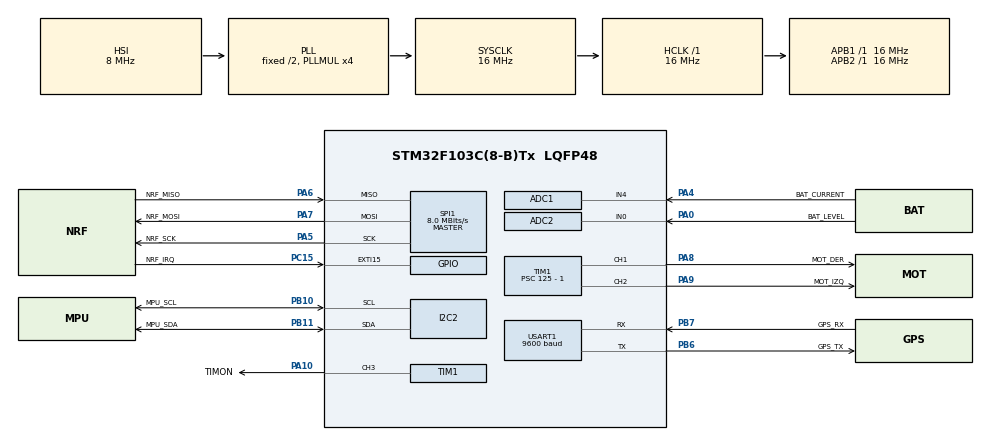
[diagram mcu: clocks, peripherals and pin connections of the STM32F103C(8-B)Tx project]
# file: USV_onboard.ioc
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ADC1.Channel-0\#ChannelRegularConversion=ADC_CHANNEL_4
ADC1.ContinuousConvMode=ENABLE
ADC1.NbrOfConversionFlag=1
ADC1.Rank-0\#ChannelRegularConversion=1
ADC1.SamplingTime-0\#ChannelRegularConversion=ADC_SAMPLETIME_1CYCLE_5
ADC1.master=1
ADC2.Channel-0\#ChannelRegularConversion=ADC_CHANNEL_0
ADC2.ContinuousConvMode=ENABLE
ADC2.NbrOfConversionFlag=1
ADC2.Rank-0\#ChannelRegularConversion=1
ADC2.SamplingTime-0\#ChannelRegularConversion=ADC_SAMPLETIME_1CYCLE_5
Dma.Request0=USART1_RX
Dma.USART1_RX.0.Direction=DMA_PERIPH_TO_MEMORY
Dma.USART1_RX.0.Instance=DMA1_Channel5
Dma.USART1_RX.0.MemDataAlignment=DMA_MDATAALIGN_BYTE
Dma.USART1_RX.0.MemInc=DMA_MINC_ENABLE
Dma.USART1_RX.0.Mode=DMA_NORMAL
Dma.USART1_RX.0.PeriphDataAlignment=DMA_PDATAALIGN_BYTE
Dma.USART1_RX.0.PeriphInc=DMA_PINC_DISABLE
Dma.USART1_RX.0.Priority=DMA_PRIORITY_LOW
FREERTOS.INCLUDE_pcTaskGetTaskName=1
FREERTOS.INCLUDE_xTaskGetCurrentTaskHandle=1
FREERTOS.Tasks01=ACQ_GPS,24,512,StartACQGPS,Default,NULL,Dynamic,NULL,NULL;ACQ_MPU,24,512,StartACQMPU,Default,NULL,Dynamic,NULL,NULL;Proc_datos,40,256,StartProcDatos,Default,NULL,Dynamic,NULL,NULL
FREERTOS.configCHECK_FOR_STACK_OVERFLOW=2
FREERTOS.configTOTAL_HEAP_SIZE=6000
FREERTOS.configUSE_APPLICATION_TASK_TAG=1
FREERTOS.configUSE_NEWLIB_REENTRANT=1
Mcu.Family=STM32F1
Mcu.Name=STM32F103C(8-B)Tx
Mcu.Package=LQFP48
NVIC.ADC1_2_IRQn=true\:5\:0\:false\:false\:true\:true\:true\:true\:true
NVIC.DMA1_Channel5_IRQn=true\:5\:0\:false\:false\:true\:true\:false\:true\:true
NVIC.EXTI15_10_IRQn=true\:5\:0\:false\:false\:true\:true\:true\:true\:true
NVIC.PriorityGroup=NVIC_PRIORITYGROUP_4
NVIC.SPI1_IRQn=true\:5\:0\:false\:false\:true\:true\:true\:true\:true
NVIC.TIM2_IRQn=true\:5\:0\:false\:false\:true\:true\:true\:true\:true
NVIC.TIM4_IRQn=true\:15\:0\:false\:false\:true\:false\:false\:true\:true
NVIC.TimeBase=TIM4_IRQn
NVIC.TimeBaseIP=TIM4
NVIC.USART1_IRQn=true\:5\:0\:false\:false\:true\:true\:true\:true\:true
PA0-WKUP.GPIO_Label=BAT_LEVEL
PA0-WKUP.Signal=ADCx_IN0
PA10.GPIO_Label=TIMON
PA10.Signal=S_TIM1_CH3
PA13.Mode=Serial_Wire
PA13.Signal=SYS_JTMS-SWDIO
PA14.Mode=Serial_Wire
PA14.Signal=SYS_JTCK-SWCLK
PA4.GPIO_Label=BAT_CURRENT
PA4.Signal=ADCx_IN4
PA5.GPIO_Label=NRF_SCK
PA5.Mode=Full_Duplex_Master
PA5.Signal=SPI1_SCK
PA6.GPIO_Label=NRF_MISO
PA6.Mode=Full_Duplex_Master
PA6.Signal=SPI1_MISO
PA7.GPIO_Label=NRF_MOSI
PA7.Mode=Full_Duplex_Master
PA7.Signal=SPI1_MOSI
PA8.GPIO_Label=MOT_DER
PA8.Signal=S_TIM1_CH1
PA9.GPIO_Label=MOT_IZQ
PA9.Signal=S_TIM1_CH2
PB10.GPIO_Label=MPU_SCL
PB10.Mode=I2C
PB10.Signal=I2C2_SCL
PB11.GPIO_Label=MPU_SDA
PB11.Mode=I2C
PB11.Signal=I2C2_SDA
PB6.GPIO_Label=GPS_TX
PB6.Mode=Asynchronous
PB6.Signal=USART1_TX
PB7.GPIO_Label=GPS_RX
PB7.Mode=Asynchronous
PB7.Signal=USART1_RX
PC15-OSC32_OUT.GPIO_Label=NRF_IRQ
PC15-OSC32_OUT.GPIO_ModeDefaultEXTI=GPIO_MODE_IT_FALLING
PC15-OSC32_OUT.GPIO_PuPd=GPIO_PULLUP
PC15-OSC32_OUT.Signal=GPXTI15
ProjectManager.HeapSize=0x200
ProjectManager.StackSize=0x400
ProjectManager.TargetToolchain=STM32CubeIDE
RCC.AHBFreq_Value=16000000
RCC.APB1Freq_Value=16000000
RCC.APB1TimFreq_Value=16000000
RCC.APB2Freq_Value=16000000
RCC.APB2TimFreq_Value=16000000
RCC.HCLKFreq_Value=16000000
RCC.PLLMUL=RCC_PLL_MUL4
RCC.SYSCLKFreq_VALUE=16000000
RCC.SYSCLKSource=RCC_SYSCLKSOURCE_PLLCLK
RCC.USBFreq_Value=16000000
SH.ADCx_IN0.0=ADC2_IN0,IN0
SH.ADCx_IN4.0=ADC1_IN4,IN4
SH.S_TIM1_CH1.0=TIM1_CH1,PWM Generation1 CH1
SH.S_TIM1_CH2.0=TIM1_CH2,PWM Generation2 CH2
SH.S_TIM1_CH3.0=TIM1_CH3,PWM Generation3 CH3
SPI1.CalculateBaudRate=8.0 MBits/s
SPI1.Direction=SPI_DIRECTION_2LINES
SPI1.Mode=SPI_MODE_MASTER
SPI1.VirtualType=VM_MASTER
TIM1.AutoReloadPreload=TIM_AUTORELOAD_PRELOAD_ENABLE
TIM1.Channel-PWM\ Generation1\ CH1=TIM_CHANNEL_1
TIM1.Channel-PWM\ Generation2\ CH2=TIM_CHANNEL_2
TIM1.Channel-PWM\ Generation3\ CH3=TIM_CHANNEL_3
TIM1.Period=2560 - 1
TIM1.Prescaler=125 - 1
TIM2.AutoReloadPreload=TIM_AUTORELOAD_PRELOAD_ENABLE
TIM2.Period=3125 - 1
TIM2.Prescaler=2560 - 1
USART1.BaudRate=9600
USART1.VirtualMode=VM_ASYNC
VP_FREERTOS_VS_CMSIS_V2.Mode=CMSIS_V2
VP_SYS_VS_tim4.Mode=TIM4
VP_TIM1_VS_ClockSourceINT.Mode=Internal
VP_TIM2_VS_ClockSourceINT.Mode=Internal
board=custom

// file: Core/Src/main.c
/* USER CODE BEGIN Header */
/**
  ******************************************************************************
  * @file           : main.c
  * @brief          : Main program body
  ******************************************************************************
  * @attention
  *
  * Copyright (c) 2025 STMicroelectronics.
  * All rights reserved.
  *
  * This software is licensed under terms that can be found in the LICENSE file
  * in the root directory of this software component.
  * If no LICENSE file comes with this software, it is provided AS-IS.
  *
  ******************************************************************************
  */
/* USER CODE END Header */
#include "main.h"
#include "cmsis_os.h"

/* USER CODE BEGIN Includes */
#include <stdint.h>
#include <stdio.h>
#include <string.h>
#include <stdbool.h>
#include <task.h>

#include "NRF24.h"
#include "NRF24_conf.h"
#include "NRF24_reg_addresses.h"
#include "gps.h"
#include "MPU9250-DMP.h"
#include "inv_mpu.h"
#include "lut_timon.h"
#include "lut_giro.h"

/* USER CODE END Includes */

/* USER CODE BEGIN PD */
#define _BV(x) (1 << (x))
#define GPS_RX_BUFFER_SIZE 128
#define getBatCurrent() (hadc1.Instance->DR >> 4)
#define getBatLevel() (hadc2.Instance->DR - 3583)/2

/* USER CODE END PD */

ADC_HandleTypeDef hadc1;
ADC_HandleTypeDef hadc2;

I2C_HandleTypeDef hi2c2;

SPI_HandleTypeDef hspi1;

TIM_HandleTypeDef htim1;
TIM_HandleTypeDef htim2;

UART_HandleTypeDef huart1;
DMA_HandleTypeDef hdma_usart1_rx;

/* Definitions for ACQ_GPS */
osThreadId_t ACQ_GPSHandle;
const osThreadAttr_t ACQ_GPS_attributes = {
  .name = "ACQ_GPS",
  .stack_size = 512 * 4,
  .priority = (osPriority_t) osPriorityNormal,
};
/* Definitions for ACQ_MPU */
osThreadId_t ACQ_MPUHandle;
const osThreadAttr_t ACQ_MPU_attributes = {
  .name = "ACQ_MPU",
  .stack_size = 512 * 4,
  .priority = (osPriority_t) osPriorityNormal,
};
/* Definitions for Proc_datos */
osThreadId_t Proc_datosHandle;
const osThreadAttr_t Proc_datos_attributes = {
  .name = "Proc_datos",
  .stack_size = 256 * 4,
  .priority = (osPriority_t) osPriorityHigh,
};
/* USER CODE BEGIN PV */
/*****	ERROR Managment	****/
typedef enum {
	NRF24_NOT_INIT,
	NRF24_TX_LOST,
	NRF24_EXTRA_NOT_CPY
}error_t;

error_t error;
/***** Variables NRF24	*****/
uint8_t NRF_addr[5] = {0xE1, 0xF0, 0xF0, 0xE8, 0xE8};	//Adress del módulo NRF24
typedef struct __attribute__((__packed__)){		// Estructura del mensaje a recibir
	uint8_t MODO;
	uint8_t POTENCIA;
	uint8_t DIRECCION;
	char EXTRA[29];
}msg_t;

msg_t mensaje = {
		.MODO = 0,
		.POTENCIA = 0,
		.DIRECCION = 0,
		.EXTRA = {0}
};

uint16_t PLD_SIZE = 32;

// Estructura del payload a enviar en el ACK
typedef struct __attribute__((__packed__)){	// el atributo colocado es para que no realice padding.
	float latitud;
	float longitud;	//Coordenadas GPS
	float velocidad;
	uint8_t ACK_estado;
	uint8_t bat_level;	//Nivel de batería
	uint8_t bat_current;	//Corriente medida
	uint8_t sat_used;
	uint16_t heading;
	char extra[14];
}ACKpld_t;
ACKpld_t ACKpld;
/***** Variables FSM onBoard	******/
typedef enum{
	IDLE = 0b00000000,
	MANUAL = 0b00000001,
	WAYPOINT = 0b00000010
}modo_t;

/***** Buffer de recepción NMEA *****/
uint8_t GPSrx_buffer1[128];
uint8_t GPSrx_buffer2[128];
uint8_t GPSrx_buffer3[128];
typedef enum {
	MSG_ON_BUF1,
	MSG_ON_BUF2,
	MSG_ON_BUF3,
	NONE_MSG
}notifyGPS_t;

uint8_t len;

/***** Variables WATCHDOG Timer *****/
bool TIMEOUT_WDOG_OCCUR = false;
/* USER CODE END PV */

void SystemClock_Config(void);
static void MX_GPIO_Init(void);
static void MX_DMA_Init(void);
static void MX_I2C2_Init(void);
static void MX_SPI1_Init(void);
static void MX_TIM1_Init(void);
static void MX_USART1_UART_Init(void);
static void MX_ADC1_Init(void);
static void MX_ADC2_Init(void);
static void MX_TIM2_Init(void);
void StartACQGPS(void *argument);
void StartACQMPU(void *argument);
void StartProcDatos(void *argument);

/* USER CODE BEGIN PFP */
void HAL_GPIO_EXTI_Callback(uint16_t GPIO_Pin)
{
	BaseType_t xHigherPriorityTaskWoken = pdFALSE;
    if (GPIO_Pin == GPIO_PIN_15)
    {
    	htim2.Instance->CNT = 0;	//Reinicio el WatchDog Timer

    	if (nrf24_data_available()) {
    		uint8_t rx_buffer[sizeof(msg_t)];

    		nrf24_receive(rx_buffer, sizeof(msg_t));

    		mensaje.MODO = rx_buffer[0];
    		mensaje.POTENCIA = rx_buffer[1];
    		mensaje.DIRECCION = rx_buffer[2];

    		char *ret = memcpy(mensaje.EXTRA, &rx_buffer[3], sizeof(mensaje.EXTRA));
    		if(ret != mensaje.EXTRA){
    			error = NRF24_EXTRA_NOT_CPY;
    		}
    		nrf24_flush_rx();
    	}

    	//Activada la IRQ de msj recibido, notifico a la task proc. datos
    	vTaskNotifyGiveFromISR(Proc_datosHandle, &xHigherPriorityTaskWoken); //Notificar a procesar datos que hay uno nuevo
    	portYIELD_FROM_ISR( xHigherPriorityTaskWoken );
    }
}
void USART1_IDLE_Interrupcion(void) {
	static uint8_t buffer_idx;
	uint8_t *buffers[] = { GPSrx_buffer1, GPSrx_buffer2, GPSrx_buffer3};
	notifyGPS_t NotifyGPS = NONE_MSG;

        // Desactivo DMA momentáneamente
        HAL_UART_DMAStop(&huart1);

        switch (buffer_idx) {
			case 0:
				NotifyGPS = MSG_ON_BUF1;
				break;
			case 1:
				NotifyGPS = MSG_ON_BUF2;
				break;
			case 2:
				NotifyGPS = MSG_ON_BUF3;
				break;
		}

        // Calculás cuántos bytes llegaron
        len = GPS_RX_BUFFER_SIZE - __HAL_DMA_GET_COUNTER(huart1.hdmarx);
        buffer_idx = (buffer_idx + 1) % 3;

        xTaskNotify(ACQ_GPSHandle, NotifyGPS, eSetValueWithOverwrite);  // nueva notificación

        // Reinicio DMA desde el buffer correspondiente
        HAL_UART_Receive_DMA(&huart1, buffers[buffer_idx], GPS_RX_BUFFER_SIZE);
}
bool NRF24_Init(void){
	ce_low();
	csn_high();

	HAL_Delay(5);

	// Velocidad inicial confiable (1 Mbps)
	nrf24_data_rate(_250kbps);

    // Habilitar ACK payload y payload dinámico
	nrf24_en_ack_pld(enable);
	nrf24_en_dyn_ack(enable);
	nrf24_dpl(enable);

    // Habilitar auto-ack en todos los pipes (puede ajustarse)
	nrf24_auto_ack_all(enable);

    // Habilitar solo pipes RX 0 y 1 por defecto
	nrf24_open_rx_pipe(0, NRF_addr);
	//nrf24_open_rx_pipe(1, NRF_addr);

    // Tamaño fijo de payload (por defecto 32 bytes)
	nrf24_pipe_pld_size(0, PLD_SIZE);
	//nrf24_pipe_pld_size(1, PLD_SIZE);

    // Ancho de dirección: 5 bytes (máximo permitido)
	nrf24_set_addr_width(5);

	// Canal por defecto (76 → dentro de ISM band y sin interferencia típica)
	nrf24_set_channel(76);

    // Limpiar flags de status
	nrf24_clear_max_rt();
	nrf24_clear_rx_dr();
	nrf24_clear_tx_ds();

    // Flush buffers
	nrf24_flush_rx();
	nrf24_flush_tx();

	//Retransmission setup
	//0110 (ARD) = 1.5ms, 0101 (ARC) = 5 retries.
	uint8_t setup = 0b01100101;
	uint8_t* p = &setup;
	nrf24_w_reg(SETUP_RETR, p, sizeof(setup));

//	uint8_t SETUP_reg = nrf24_r_reg(SETUP_RETR, 1);

	//Para debug
	volatile uint8_t CONFIG_reg = nrf24_r_reg(CONFIG, 1);

    // Configurar registro CONFIG:
    // - CRC de 2 bytes (CRCO)
    // - CRC habilitado (EN_CRC)
    // - Power Up (PWR_UP)
    // - Modo PTX (PRIM_RX = 0)
	nrf24_set_crc(en_crc, _2byte);
	nrf24_pwr_up();
	// Pongo en Modo PTX (PRIM_RX = 0)
	nrf24_set_bit(CONFIG, 0, 0);
	//Reflejo solo la IRQ RX_DR en el pin IRQ
	nrf24_set_bit(CONFIG, 6, 0);
	nrf24_set_bit(CONFIG, 5, 1);
	nrf24_set_bit(CONFIG, 4, 1);

	//Para debug
	CONFIG_reg = nrf24_r_reg(CONFIG, 1);

    // Delay de power-up a standby (~1.5ms recomendado)
    HAL_Delay(2);

    // Verificación de escritura de CONFIG
    return (nrf24_r_reg(CONFIG, 1) == (_BV(EN_CRC) | _BV(CRCO) | _BV(PWR_UP) | _BV(MASK_TX_DS) | _BV(MASK_MAX_RT))) ? true : false;
}
void Motor_Init(void){
	//Inicialización MOTORES
	  HAL_TIM_Base_Start(&htim1);
	  HAL_TIM_PWM_Start(&htim1, TIM_CHANNEL_1);
	  HAL_TIM_PWM_Start(&htim1, TIM_CHANNEL_2);

	  htim1.Instance->CCR1 = 256;
	  htim1.Instance->CCR2 = 256;

	  HAL_Delay(2000);

	  htim1.Instance->CCR1 = 128;
	  htim1.Instance->CCR2 = 128;

	  HAL_Delay(2000);

	  // Innicialización TIMóN
	  htim1.Instance->CCR3 = 128; //0 grados

	  HAL_Delay(500);

	  htim1.Instance->CCR3 = 256;	//180 grados (max)

	  HAL_Delay(500);

	  htim1.Instance->CCR3 = 192;	//90 grados (centrado)
}
uint8_t map_vel_to_pwm(uint8_t vel)
{
    return (uint16_t)vel * (255 - 127) / 255 + 127;
}
//uint8_t map_angle_to_pwm(uint8_t angulo) {
//    if (angulo < 0) angulo = 0;
//    if (angulo > 180) angulo = 180;
//    return 128 + (uint16_t)(angulo / 180) * 128;
//}
void callback_in(int){

}
void callback_out(int){

}
/* USER CODE END PFP */

int main(void)
{

  /* MCU Configuration--------------------------------------------------------*/

  /* Reset of all peripherals, Initializes the Flash interface and the Systick. */
  HAL_Init();

  /* Configure the system clock */
  SystemClock_Config();

  /* Initialize all configured peripherals */
  MX_GPIO_Init();
  MX_DMA_Init();
  MX_I2C2_Init();
  MX_SPI1_Init();
  MX_TIM1_Init();
  MX_USART1_UART_Init();
  MX_ADC1_Init();
  MX_ADC2_Init();
  MX_TIM2_Init();
  /* USER CODE BEGIN 2 */

  if (NRF24_Init() == 0) {
	  error = NRF24_NOT_INIT;
	  while(1);
  }

  /*** Inicializo los ADC de BatLevel y Current ***/
  HAL_ADC_Start(&hadc1);
  HAL_ADC_Start(&hadc2);

  Motor_Init();
  HAL_UART_Receive_DMA(&huart1, GPSrx_buffer1, GPS_RX_BUFFER_SIZE); //Inicia en el Buffer 1
  /*** INIT MPU ***/
  // Ya incluye correcta inicialización del magnetómetro, no lo deja en modo ByPass
  if(MPU9250_begin() == INV_SUCCESS) SET_BIT(ACKpld.ACK_estado, 5); // Bit 5 en alto (IMU OK)
  // Configurar giroscopio ±250°/s
  MPU9250_setGyroFSR(250);
  MPU9250_setSampleRate(50); //Sample Rate de acc y gyro en 50Hz
  MPU9250_setCompassSampleRate(100);
  MPU9250_dmpBegin(DMP_FEATURE_GYRO_CAL | DMP_FEATURE_SEND_CAL_GYRO, 50);

  nrf24_listen();

  HAL_TIM_Base_Start(&htim2);

  /* USER CODE END 2 */

  /* Init scheduler */
  osKernelInitialize();

  /* Create the thread(s) */
  /* creation of ACQ_GPS */
  ACQ_GPSHandle = osThreadNew(StartACQGPS, NULL, &ACQ_GPS_attributes);

  /* creation of ACQ_MPU */
  ACQ_MPUHandle = osThreadNew(StartACQMPU, NULL, &ACQ_MPU_attributes);

  /* creation of Proc_datos */
  Proc_datosHandle = osThreadNew(StartProcDatos, NULL, &Proc_datos_attributes);

  /* Start scheduler */
  osKernelStart();

  /* We should never get here as control is now taken by the scheduler */
  /* Infinite loop */
  while (1)
  {

  }
}

void SystemClock_Config(void)
{
  RCC_OscInitTypeDef RCC_OscInitStruct = {0};
  RCC_ClkInitTypeDef RCC_ClkInitStruct = {0};
  RCC_PeriphCLKInitTypeDef PeriphClkInit = {0};

  /** Initializes the RCC Oscillators according to the specified parameters
  * in the RCC_OscInitTypeDef structure.
  */
  RCC_OscInitStruct.OscillatorType = RCC_OSCILLATORTYPE_HSI;
  RCC_OscInitStruct.HSIState = RCC_HSI_ON;
  RCC_OscInitStruct.HSICalibrationValue = RCC_HSICALIBRATION_DEFAULT;
  RCC_OscInitStruct.PLL.PLLState = RCC_PLL_ON;
  RCC_OscInitStruct.PLL.PLLSource = RCC_PLLSOURCE_HSI_DIV2;
  RCC_OscInitStruct.PLL.PLLMUL = RCC_PLL_MUL4;
  if (HAL_RCC_OscConfig(&RCC_OscInitStruct) != HAL_OK)
  {
    Error_Handler();
  }

  /** Initializes the CPU, AHB and APB buses clocks
  */
  RCC_ClkInitStruct.ClockType = RCC_CLOCKTYPE_HCLK|RCC_CLOCKTYPE_SYSCLK
                              |RCC_CLOCKTYPE_PCLK1|RCC_CLOCKTYPE_PCLK2;
  RCC_ClkInitStruct.SYSCLKSource = RCC_SYSCLKSOURCE_PLLCLK;
  RCC_ClkInitStruct.AHBCLKDivider = RCC_SYSCLK_DIV1;
  RCC_ClkInitStruct.APB1CLKDivider = RCC_HCLK_DIV1;
  RCC_ClkInitStruct.APB2CLKDivider = RCC_HCLK_DIV1;

  if (HAL_RCC_ClockConfig(&RCC_ClkInitStruct, FLASH_LATENCY_0) != HAL_OK)
  {
    Error_Handler();
  }
  PeriphClkInit.PeriphClockSelection = RCC_PERIPHCLK_ADC;
  PeriphClkInit.AdcClockSelection = RCC_ADCPCLK2_DIV2;
  if (HAL_RCCEx_PeriphCLKConfig(&PeriphClkInit) != HAL_OK)
  {
    Error_Handler();
  }
}

static void MX_ADC1_Init(void)
{

  ADC_ChannelConfTypeDef sConfig = {0};

  /** Common config
  */
  hadc1.Instance = ADC1;
  hadc1.Init.ScanConvMode = ADC_SCAN_DISABLE;
  hadc1.Init.ContinuousConvMode = ENABLE;
  hadc1.Init.DiscontinuousConvMode = DISABLE;
  hadc1.Init.ExternalTrigConv = ADC_SOFTWARE_START;
  hadc1.Init.DataAlign = ADC_DATAALIGN_RIGHT;
  hadc1.Init.NbrOfConversion = 1;
  if (HAL_ADC_Init(&hadc1) != HAL_OK)
  {
    Error_Handler();
  }

  /** Configure Regular Channel
  */
  sConfig.Channel = ADC_CHANNEL_4;
  sConfig.Rank = ADC_REGULAR_RANK_1;
  sConfig.SamplingTime = ADC_SAMPLETIME_1CYCLE_5;
  if (HAL_ADC_ConfigChannel(&hadc1, &sConfig) != HAL_OK)
  {
    Error_Handler();
  }

}

static void MX_ADC2_Init(void)
{

  ADC_ChannelConfTypeDef sConfig = {0};

  /** Common config
  */
  hadc2.Instance = ADC2;
  hadc2.Init.ScanConvMode = ADC_SCAN_DISABLE;
  hadc2.Init.ContinuousConvMode = ENABLE;
  hadc2.Init.DiscontinuousConvMode = DISABLE;
  hadc2.Init.ExternalTrigConv = ADC_SOFTWARE_START;
  hadc2.Init.DataAlign = ADC_DATAALIGN_RIGHT;
  hadc2.Init.NbrOfConversion = 1;
  if (HAL_ADC_Init(&hadc2) != HAL_OK)
  {
    Error_Handler();
  }

  /** Configure Regular Channel
  */
  sConfig.Channel = ADC_CHANNEL_0;
  sConfig.Rank = ADC_REGULAR_RANK_1;
  sConfig.SamplingTime = ADC_SAMPLETIME_1CYCLE_5;
  if (HAL_ADC_ConfigChannel(&hadc2, &sConfig) != HAL_OK)
  {
    Error_Handler();
  }

}

static void MX_I2C2_Init(void)
{

  hi2c2.Instance = I2C2;
  hi2c2.Init.ClockSpeed = 100000;
  hi2c2.Init.DutyCycle = I2C_DUTYCYCLE_2;
  hi2c2.Init.OwnAddress1 = 0;
  hi2c2.Init.AddressingMode = I2C_ADDRESSINGMODE_7BIT;
  hi2c2.Init.DualAddressMode = I2C_DUALADDRESS_DISABLE;
  hi2c2.Init.OwnAddress2 = 0;
  hi2c2.Init.GeneralCallMode = I2C_GENERALCALL_DISABLE;
  hi2c2.Init.NoStretchMode = I2C_NOSTRETCH_DISABLE;
  if (HAL_I2C_Init(&hi2c2) != HAL_OK)
  {
    Error_Handler();
  }

}

static void MX_SPI1_Init(void)
{

  /* SPI1 parameter configuration*/
  hspi1.Instance = SPI1;
  hspi1.Init.Mode = SPI_MODE_MASTER;
  hspi1.Init.Direction = SPI_DIRECTION_2LINES;
  hspi1.Init.DataSize = SPI_DATASIZE_8BIT;
  hspi1.Init.CLKPolarity = SPI_POLARITY_LOW;
  hspi1.Init.CLKPhase = SPI_PHASE_1EDGE;
  hspi1.Init.NSS = SPI_NSS_SOFT;
  hspi1.Init.BaudRatePrescaler = SPI_BAUDRATEPRESCALER_2;
  hspi1.Init.FirstBit = SPI_FIRSTBIT_MSB;
  hspi1.Init.TIMode = SPI_TIMODE_DISABLE;
  hspi1.Init.CRCCalculation = SPI_CRCCALCULATION_DISABLE;
  hspi1.Init.CRCPolynomial = 10;
  if (HAL_SPI_Init(&hspi1) != HAL_OK)
  {
    Error_Handler();
  }

}

static void MX_TIM1_Init(void)
{

  TIM_ClockConfigTypeDef sClockSourceConfig = {0};
  TIM_MasterConfigTypeDef sMasterConfig = {0};
  TIM_OC_InitTypeDef sConfigOC = {0};
  TIM_BreakDeadTimeConfigTypeDef sBreakDeadTimeConfig = {0};

  htim1.Instance = TIM1;
  htim1.Init.Prescaler = 125 - 1;
  htim1.Init.CounterMode = TIM_COUNTERMODE_UP;
  htim1.Init.Period = 2560 - 1;
  htim1.Init.ClockDivision = TIM_CLOCKDIVISION_DIV1;
  htim1.Init.RepetitionCounter = 0;
  htim1.Init.AutoReloadPreload = TIM_AUTORELOAD_PRELOAD_ENABLE;
  if (HAL_TIM_Base_Init(&htim1) != HAL_OK)
  {
    Error_Handler();
  }
  sClockSourceConfig.ClockSource = TIM_CLOCKSOURCE_INTERNAL;
  if (HAL_TIM_ConfigClockSource(&htim1, &sClockSourceConfig) != HAL_OK)
  {
    Error_Handler();
  }
  if (HAL_TIM_PWM_Init(&htim1) != HAL_OK)
  {
    Error_Handler();
  }
  sMasterConfig.MasterOutputTrigger = TIM_TRGO_RESET;
  sMasterConfig.MasterSlaveMode = TIM_MASTERSLAVEMODE_DISABLE;
  if (HAL_TIMEx_MasterConfigSynchronization(&htim1, &sMasterConfig) != HAL_OK)
  {
    Error_Handler();
  }
  sConfigOC.OCMode = TIM_OCMODE_PWM1;
  sConfigOC.Pulse = 0;
  sConfigOC.OCPolarity = TIM_OCPOLARITY_HIGH;
  sConfigOC.OCNPolarity = TIM_OCNPOLARITY_HIGH;
  sConfigOC.OCFastMode = TIM_OCFAST_DISABLE;
  sConfigOC.OCIdleState = TIM_OCIDLESTATE_RESET;
  sConfigOC.OCNIdleState = TIM_OCNIDLESTATE_RESET;
  if (HAL_TIM_PWM_ConfigChannel(&htim1, &sConfigOC, TIM_CHANNEL_1) != HAL_OK)
  {
    Error_Handler();
  }
  if (HAL_TIM_PWM_ConfigChannel(&htim1, &sConfigOC, TIM_CHANNEL_2) != HAL_OK)
  {
    Error_Handler();
  }
  if (HAL_TIM_PWM_ConfigChannel(&htim1, &sConfigOC, TIM_CHANNEL_3) != HAL_OK)
  {
    Error_Handler();
  }
  sBreakDeadTimeConfig.OffStateRunMode = TIM_OSSR_DISABLE;
  sBreakDeadTimeConfig.OffStateIDLEMode = TIM_OSSI_DISABLE;
  sBreakDeadTimeConfig.LockLevel = TIM_LOCKLEVEL_OFF;
  sBreakDeadTimeConfig.DeadTime = 0;
  sBreakDeadTimeConfig.BreakState = TIM_BREAK_DISABLE;
  sBreakDeadTimeConfig.BreakPolarity = TIM_BREAKPOLARITY_HIGH;
  sBreakDeadTimeConfig.AutomaticOutput = TIM_AUTOMATICOUTPUT_DISABLE;
  if (HAL_TIMEx_ConfigBreakDeadTime(&htim1, &sBreakDeadTimeConfig) != HAL_OK)
  {
    Error_Handler();
  }
  HAL_TIM_MspPostInit(&htim1);

}

static void MX_TIM2_Init(void)
{

  TIM_ClockConfigTypeDef sClockSourceConfig = {0};
  TIM_MasterConfigTypeDef sMasterConfig = {0};

  htim2.Instance = TIM2;
  htim2.Init.Prescaler = 2560 - 1;
  htim2.Init.CounterMode = TIM_COUNTERMODE_UP;
  htim2.Init.Period = 3125 - 1;
  htim2.Init.ClockDivision = TIM_CLOCKDIVISION_DIV1;
  htim2.Init.AutoReloadPreload = TIM_AUTORELOAD_PRELOAD_ENABLE;
  if (HAL_TIM_Base_Init(&htim2) != HAL_OK)
  {
    Error_Handler();
  }
  sClockSourceConfig.ClockSource = TIM_CLOCKSOURCE_INTERNAL;
  if (HAL_TIM_ConfigClockSource(&htim2, &sClockSourceConfig) != HAL_OK)
  {
    Error_Handler();
  }
  sMasterConfig.MasterOutputTrigger = TIM_TRGO_RESET;
  sMasterConfig.MasterSlaveMode = TIM_MASTERSLAVEMODE_DISABLE;
  if (HAL_TIMEx_MasterConfigSynchronization(&htim2, &sMasterConfig) != HAL_OK)
  {
    Error_Handler();
  }

}

static void MX_USART1_UART_Init(void)
{

  huart1.Instance = USART1;
  huart1.Init.BaudRate = 9600;
  huart1.Init.WordLength = UART_WORDLENGTH_8B;
  huart1.Init.StopBits = UART_STOPBITS_1;
  huart1.Init.Parity = UART_PARITY_NONE;
  huart1.Init.Mode = UART_MODE_TX_RX;
  huart1.Init.HwFlowCtl = UART_HWCONTROL_NONE;
  huart1.Init.OverSampling = UART_OVERSAMPLING_16;
  if (HAL_UART_Init(&huart1) != HAL_OK)
  {
    Error_Handler();
  }

}

static void MX_DMA_Init(void)
{

  /* DMA controller clock enable */
  __HAL_RCC_DMA1_CLK_ENABLE();

  /* DMA interrupt init */
  /* DMA1_Channel5_IRQn interrupt configuration */
  HAL_NVIC_SetPriority(DMA1_Channel5_IRQn, 5, 0);
  HAL_NVIC_EnableIRQ(DMA1_Channel5_IRQn);

}

static void MX_GPIO_Init(void)
{
  GPIO_InitTypeDef GPIO_InitStruct = {0};

  /* GPIO Ports Clock Enable */
  __HAL_RCC_GPIOC_CLK_ENABLE();
  __HAL_RCC_GPIOA_CLK_ENABLE();
  __HAL_RCC_GPIOB_CLK_ENABLE();

  /*Configure GPIO pin : NRF_IRQ_Pin */
  GPIO_InitStruct.Pin = NRF_IRQ_Pin;
  GPIO_InitStruct.Mode = GPIO_MODE_IT_FALLING;
  GPIO_InitStruct.Pull = GPIO_PULLUP;
  HAL_GPIO_Init(NRF_IRQ_GPIO_Port, &GPIO_InitStruct);

  /* EXTI interrupt init*/
  HAL_NVIC_SetPriority(EXTI15_10_IRQn, 5, 0);
  HAL_NVIC_EnableIRQ(EXTI15_10_IRQn);

}

void StartACQGPS(void *argument)
{
  /* USER CODE BEGIN 5 */
	uint32_t NotifiedValue;
	notifyGPS_t NotifyValue_temp; //Genero la variable para leer el Valor de la notificación como el enum especiífico

  /* Infinite loop */
  for(;;)
  {
		xTaskNotifyWait(0x0, 0xFFFFFFFF, &NotifiedValue, portMAX_DELAY);
		uint8_t updateData = 0; //Variable para saber si se parseo algún dato
		NotifyValue_temp = (notifyGPS_t)NotifiedValue;
		switch (NotifyValue_temp) {	//La notif. determina el buffer a leer.
			case MSG_ON_BUF1:
				for (int i = 0; i < len; i++) { // len siempre reserva el valor de cantidad de bytes escritos en el buffer
					rx_data = GPSrx_buffer1[i];
					updateData = GPS_UART_CallBack();
				}
				break;
			case MSG_ON_BUF2:
				for (int i = 0; i < len; i++) {
					rx_data = GPSrx_buffer2[i];
					updateData = GPS_UART_CallBack();
				}
				break;
			case MSG_ON_BUF3:
				for (int i = 0; i < len; i++) {
					rx_data = GPSrx_buffer3[i];
					updateData = GPS_UART_CallBack();
				}
				break;
			default:
				break;
		}

		if(updateData){
			ACKpld.latitud = GPS.dec_latitude;
			ACKpld.longitud = GPS.dec_longitude;
			ACKpld.sat_used = GPS.satelites;
			ACKpld.velocidad = GPS.speed_km * 3.6f;
			SET_BIT(ACKpld.ACK_estado, 6); //Pongo en alto el bit de GPS Ready
		}
  }
  /* USER CODE END 5 */
}

void StartACQMPU(void *argument)
{
  /* USER CODE BEGIN StartACQMPU */
	TickType_t xLastWakeTime = xTaskGetTickCount();
	TickType_t xDelay = pdMS_TO_TICKS(200);
  /* Infinite loop */
  for(;;)
  {
	  if(MPU9250_dataReady()){
		  MPU9250_dmpUpdateFifo(); //Update de Acelerometro, gyro y quat.
		  MPU9250_update(UPDATE_COMPASS);
		  MPU9250_computeEulerAngles(1);
		  ACKpld.heading = MPU9250_computeCompassHeading();
		  memcpy(&ACKpld.extra[0], &roll_inside, 2);
		  memcpy(&ACKpld.extra[4], &pitch_inside, 2);
	  }
	  vTaskDelayUntil( &xLastWakeTime, xDelay);
  }
  /* USER CODE END StartACQMPU */
}

void StartProcDatos(void *argument)
{
  /* USER CODE BEGIN StartProcDatos */
	modo_t modo;
	uint8_t direccion;
	uint8_t potencia;

	typedef enum {
		IZQUIERDA = 0,
		DERECHA,
		CENTRO
	}dir_t;
	dir_t i_or_d;

	uint8_t k_giro;
	uint8_t k_timon;

	typedef struct {
		uint8_t m_der;
		uint8_t m_izq;
	}vel_t;
	vel_t velocidad;

  /* Infinite loop */
  for(;;)
  {
	  ulTaskNotifyTake(pdTRUE, portMAX_DELAY);
	  // Copia de los datos del mensaje recibido por RF
	  modo = (modo_t)mensaje.MODO;
	  direccion = mensaje.DIRECCION;
	  potencia = mensaje.POTENCIA;

	  // Lógica de asignación de dirección
	  if (direccion < 128) i_or_d = IZQUIERDA;
	  else if (direccion > 128) i_or_d = DERECHA;
	  else i_or_d = CENTRO;

	  //Ganancia de giro
	  k_giro = lut_giro[direccion];	//Asigna valor según función abs, parabola, etc.
	  //Ganancia de giro del Timon
	  k_timon = lut_timon[direccion];	//Asigna valor clampeado entre 45 y 135 grados, pasados ya a PWM.

	  // Asignación de potencia de los motores
	  velocidad.m_der = i_or_d == DERECHA? (potencia * (255 - k_giro))/256 : potencia;
	  velocidad.m_izq = i_or_d == IZQUIERDA? (potencia * (255 - k_giro))/256 : potencia;

	  switch (modo) {
		case MANUAL:
			// Asigna la potencia/velocidad a los motores.
			htim1.Instance->CCR1 = map_vel_to_pwm(velocidad.m_der);
			htim1.Instance->CCR2 = map_vel_to_pwm(velocidad.m_izq);

			//Asigna la posición al timón
			htim1.Instance->CCR3 =  k_timon;
			CLEAR_BIT(ACKpld.ACK_estado, 0);
			break;
		case IDLE:
			// Asigna velocidad nula a los motores.
			htim1.Instance->CCR1 = 128;
			htim1.Instance->CCR2 = 128;

			//Asigna la posición inicial al timón
			htim1.Instance->CCR3 =  192;
			break;
		case WAYPOINT:

			break;
	}
	  ACKpld.bat_current = getBatCurrent();
	  ACKpld.bat_level = getBatLevel();
	  if(TIMEOUT_WDOG_OCCUR){
		  SET_BIT(ACKpld.ACK_estado, 7);
		  TIMEOUT_WDOG_OCCUR = false;
		  HAL_TIM_Base_Start(&htim2);
	  }
	  else{
		  CLEAR_BIT(ACKpld.ACK_estado, 7);
	  }
	  nrf24_flush_tx();
	  nrf24_transmit_rx_ack_pld(0, (uint8_t*)&ACKpld, PLD_SIZE);	//Casteo (uint8_t*) porque así acepta los punteros la función
	  nrf24_transmit_rx_ack_pld(1, (uint8_t*)&ACKpld, PLD_SIZE);

  }
  /* USER CODE END StartProcDatos */
}

void HAL_TIM_PeriodElapsedCallback(TIM_HandleTypeDef *htim)
{
  if (htim->Instance == TIM4) {
    HAL_IncTick();
  }
  /* USER CODE BEGIN Callback 1 */
  if(htim->Instance == TIM2){
	  TIMEOUT_WDOG_OCCUR = true;
	  // Asigna velocidad nula a los motores.
	  htim1.Instance->CCR1 = 128;
	  htim1.Instance->CCR2 = 128;

	  //Asigna la posición inicial al timón
	  htim1.Instance->CCR3 =  192;
	  HAL_TIM_Base_Stop(&htim2);
  }
  /* USER CODE END Callback 1 */
}

void Error_Handler(void)
{
  __disable_irq();
  while (1)
  {
  }
}

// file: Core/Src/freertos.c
/* USER CODE BEGIN Header */
/**
  ******************************************************************************
  * File Name          : freertos.c
  * Description        : Code for freertos applications
  ******************************************************************************
  * @attention
  *
  * Copyright (c) 2025 STMicroelectronics.
  * All rights reserved.
  *
  * This software is licensed under terms that can be found in the LICENSE file
  * in the root directory of this software component.
  * If no LICENSE file comes with this software, it is provided AS-IS.
  *
  ******************************************************************************
  */
/* USER CODE END Header */

#include "FreeRTOS.h"
#include "task.h"
#include "main.h"

/* Hook prototypes */
void vApplicationStackOverflowHook(xTaskHandle xTask, signed char *pcTaskName);

/* USER CODE BEGIN 4 */
void vApplicationStackOverflowHook(xTaskHandle xTask, signed char *pcTaskName)
{
   /* Run time stack overflow checking is performed if
   configCHECK_FOR_STACK_OVERFLOW is defined to 1 or 2. This hook function is
   called if a stack overflow is detected. */
}
/* USER CODE END 4 */
